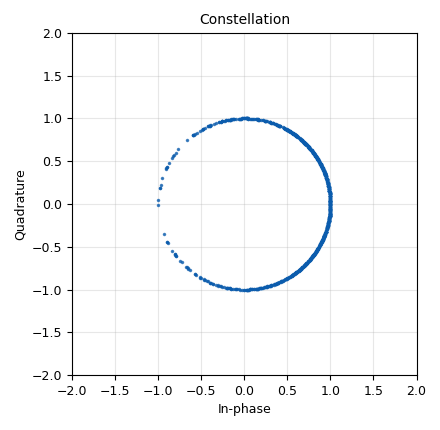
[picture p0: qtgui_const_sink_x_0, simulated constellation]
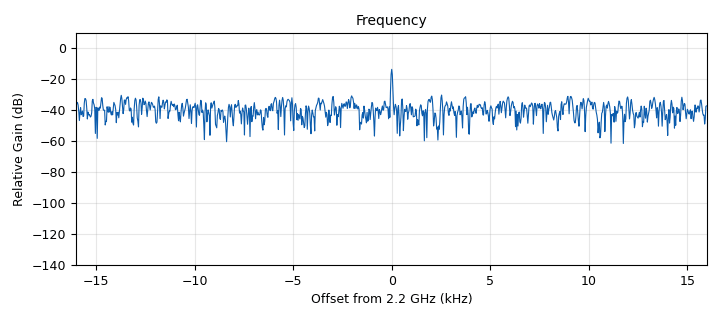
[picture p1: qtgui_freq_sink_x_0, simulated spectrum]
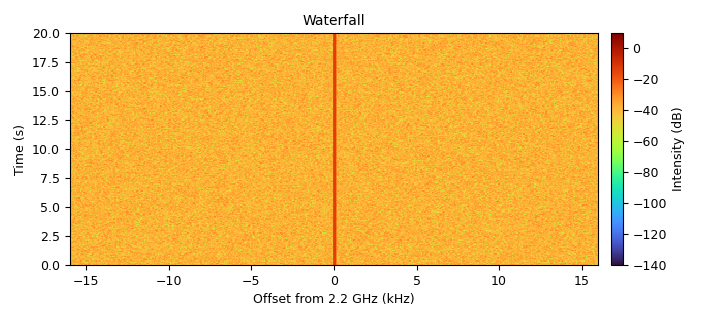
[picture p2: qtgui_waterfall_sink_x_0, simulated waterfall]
options:
  parameters:
    generate_options: qt_gui
    id: OQPSK_Quarter_HSTXC
    output_language: python
    title: '[EX3-CM] S Band Receiver'
  states: {}

blocks:
- name: agc
  id: variable_qtgui_check_box
  parameters:
    comment: USRP AGC Toggle
    'false': Disabled
    gui_hint: settings@0:1,0,1,1
    label: AGC
    'true': Enabled
    type: string
    value: Disabled
  states: {}
- name: antenna
  id: variable_qtgui_chooser
  parameters:
    comment: Antenna selector
    gui_hint: settings@0:0,0,1,1
    label: USRP Antenna Connection
    label0: RX2
    label1: TRX
    num_opts: '2'
    option0: RX2
    option1: TRX
    type: string
    value: RX2
    widget: radio_buttons
  states: {}
- name: dec_rec
  id: variable
  parameters:
    comment: |-
      Combines the values of the global recording toggle
      and the decoded data recording checkbox
    value: qt_dec_rec_toggle and record_toggle
  states: {}
- name: frequency
  id: variable_qtgui_range
  parameters:
    comment: RF receive center frequency
    gui_hint: settings@0:10,0,1,10
    label: Receive Frequency
    start: '2200000000'
    step: '100000'
    stop: '2300000000'
    value: '2200000000'
    widget: eng_slider
  states: {}
- name: gain
  id: variable_qtgui_range
  parameters:
    comment: USRP absolute gain setting
    gui_hint: settings@0:1,1,1,9
    label: Manual Gain (dB)
    start: '0'
    step: '1'
    stop: '60'
    value: '40'
    widget: eng_slider
  states: {}
- name: null_path
  id: variable
  parameters:
    value: '"NUL:" if platform == "nt" else "/dev/null"'
  states: {}
- name: platform
  id: variable
  parameters:
    value: name
  states: {}
- name: qt_dec_rec_toggle
  id: variable_qtgui_check_box
  parameters:
    comment: Enables recording of decoded data when "record" is pressed
    'false': 'False'
    gui_hint: settings@1:4,0,1,1
    label: Decoded data recording
    'true': 'True'
    type: bool
    value: 'True'
  states: {}
- name: qt_raw_rec_toggle
  id: variable_qtgui_check_box
  parameters:
    comment: Enables recording of raw data when "record" is pressed
    'false': 'False'
    gui_hint: settings@1:3,0,1,1
    label: Raw data recording
    'true': 'True'
    type: bool
    value: 'True'
  states: {}
- name: raw_rec
  id: variable
  parameters:
    comment: |-
      Combines the values of the global recording toggle
      and the raw data recording checkbox
    value: qt_raw_rec_toggle and record_toggle
  states: {}
- name: rec_note
  id: variable_qtgui_entry
  parameters:
    comment: Comment to be included in the filename
    gui_hint: settings@1:1,0,1,1
    label: '"Recording Note"'
    type: string
    value: '"recording"'
  states: {}
- name: record_toggle
  id: variable_qtgui_toggle_button_msg
  parameters:
    comment: Toggle button to activate recording
    gui_hint: 0,0,1,1
    initPressed: 'False'
    label: Record
    pressed: '1'
    released: '0'
    type: bool
    value: '0'
  states: {}
- name: recording_path
  id: variable_qtgui_entry
  parameters:
    comment: |-
      GUI entry for recording storage location
      Defaults to ./rec/
    gui_hint: settings@1:0,0,1,1
    label: '"Recording Location"'
    type: string
    value: f"{Path.cwd()}\\rec\\"
  states: {}
- name: samp_rate
  id: variable
  parameters:
    value: '32000'
  states: {}
- name: timestamp
  id: variable
  parameters:
    value: str(datetime.fromtimestamp(time.time()).strftime("%Y-%m-%dT%H.%M.%S"))
  states: {}
- name: analog_noise_source_x_0
  id: analog_noise_source_x
  parameters:
    amp: '1'
    comment: Temporary data source for GUI development
    noise_type: analog.GR_GAUSSIAN
    seed: '0'
    type: float
  states: {}
- name: analog_noise_source_x_1
  id: analog_noise_source_x
  parameters:
    amp: '1'
    comment: Temporary data source for GUI development
    noise_type: analog.GR_GAUSSIAN
    seed: '0'
    type: complex
  states: {}
- name: analog_phase_modulator_fc_0
  id: analog_phase_modulator_fc
  parameters:
    comment: Temporary data source for GUI development
    sensitivity: '1'
  states: {}
- name: analog_random_source_x_0
  id: analog_random_source_x
  parameters:
    comment: Temporary data source for GUI development
    max: '2'
    min: '0'
    num_samps: '1000'
    repeat: 'True'
    type: byte
  states: {}
- name: blocks_file_sink_0
  id: blocks_file_sink
  parameters:
    comment: |-
      Sink for raw data to be recorded to a file
      Path is determined by the recording_path QT GUI Entry
      File name is determined using the timestamp when record is pressed and the current RF parameters
      Data is sent to NUL: or /dev/null when recording is not active
    file: (recording_path)+(str(datetime.fromtimestamp(time.time()).strftime("%Y-%m-%dT%H.%M.%S")))+"_"+rec_note+"_"+str(frequency/1000000)+"MHz_"+str(samp_rate/1000000)+"Msps_RAW.bin" if raw_rec else null_path
    type: complex
  states: {}
- name: blocks_file_sink_0_0
  id: blocks_file_sink
  parameters:
    comment: |-
      Sink for decoded data to be recorded to a file
      Path is determined by the recording_path QT GUI Entry
      File name is determined using the timestamp when record is pressed and the current RF parameters
      Data is sent to NUL: or /dev/null when recording is not active
    file: recording_path+str(datetime.fromtimestamp(time.time()).strftime("%Y-%m-%dT%H.%M.%S"))+rec_note+"_DECODED.bin" if dec_rec else null_path
    type: byte
  states: {}
- name: import_0
  id: import
  parameters:
    imports: from datetime import datetime
  states: {}
- name: import_1
  id: import
  parameters:
    imports: import time
  states: {}
- name: import_1_0
  id: import
  parameters:
    imports: from pathlib import Path
  states: {}
- name: import_1_1
  id: import
  parameters:
    imports: from os import name
  states: {}
- name: qtgui_const_sink_x_0
  id: qtgui_const_sink_x
  parameters:
    comment: Primary phase domain visualization
    grid: 'True'
    gui_hint: 0,1,5,5
    legend: 'False'
    name: '"Constellation"'
    size: '1024'
    type: complex
  states: {}
- name: qtgui_freq_sink_x_0
  id: qtgui_freq_sink_x
  parameters:
    bw: samp_rate
    comment: Primary frequency domain visualization
    fc: frequency
    fftsize: '1024'
    gui_hint: 0,6,5,5
    legend: 'False'
    name: Frequency
    type: complex
  states: {}
- name: qtgui_ledindicator_0
  id: qtgui_ledindicator
  parameters:
    comment: Recording Indicator
    gui_hint: 1,0,1,1
    label: ''
    offColor: black
    onColor: red
    position: '2'
    state: record_toggle
  states: {}
- name: qtgui_waterfall_sink_x_0
  id: qtgui_waterfall_sink_x
  parameters:
    bw: samp_rate
    comment: Primary time domain visualization
    fc: frequency
    fftsize: '1024'
    gui_hint: 5,1,5,10
    name: Waterfall
    type: complex
  states: {}
- name: settings
  id: qtgui_tab_widget
  parameters:
    comment: Settings menus at the bottom of the window
    gui_hint: 20,0,1,11
    label0: RF Settings
    label1: Recording Settings
    num_tabs: '2'
  states: {}
- name: uhd_usrp_source_0
  id: uhd_usrp_source
  parameters:
    ant0: antenna
    center_freq0: frequency
    dc_offs_enb0: auto
    gain0: gain
    rx_agc0: agc
    samp_rate: samp_rate
    sync: sync
    type: fc32
  states: {state: disabled}

connections:
- [analog_noise_source_x_0, '0', analog_phase_modulator_fc_0, '0']
- [analog_noise_source_x_1, '0', blocks_file_sink_0, '0']
- [analog_phase_modulator_fc_0, '0', qtgui_const_sink_x_0, '0']
- [analog_phase_modulator_fc_0, '0', qtgui_freq_sink_x_0, '0']
- [analog_phase_modulator_fc_0, '0', qtgui_waterfall_sink_x_0, '0']
- [analog_random_source_x_0, '0', blocks_file_sink_0_0, '0']
- [record_toggle, state, qtgui_ledindicator_0, state]

metadata:
  file_format: 1
  grc_version: 3.10.12.0
